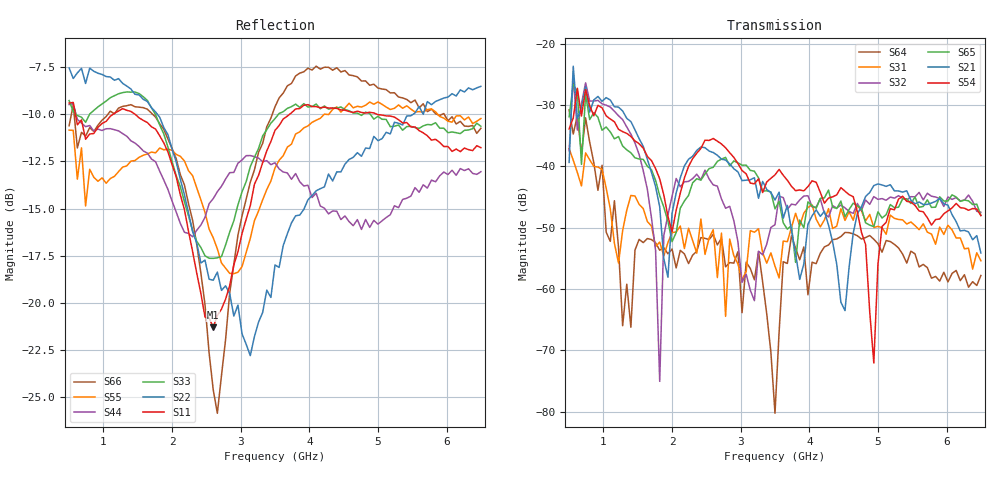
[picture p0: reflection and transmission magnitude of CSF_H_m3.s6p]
!Keysight Technologies,M9804A,MY58100912,A.14.10.03
!Date: Thursday, April 27, 2023 10:28:33
!Correction: S11(C  6-Port  )
!S12(C  6-Port  )
!S13(C  6-Port  )
!S14(C  6-Port  )
!S15(C  6-Port  )
!S16(C  6-Port  )
!S21(C  6-Port  )
!S22(C  6-Port  )
!S23(C  6-Port  )
!S24(C  6-Port  )
!S25(C  6-Port  )
!S26(C  6-Port  )
!S31(C  6-Port  )
!S32(C  6-Port  )
!S33(C  6-Port  )
!S34(C  6-Port  )
!S35(C  6-Port  )
!S36(C  6-Port  )
!S41(C  6-Port  )
!S42(C  6-Port  )
!S43(C  6-Port  )
!S44(C  6-Port  )
!S45(C  6-Port  )
!S46(C  6-Port  )
!S51(C  6-Port  )
!S52(C  6-Port  )
!S53(C  6-Port  )
!S54(C  6-Port  )
!S55(C  6-Port  )
!S56(C  6-Port  )
!S61(C  6-Port  )
!S62(C  6-Port  )
!S63(C  6-Port  )
!S64(C  6-Port  )
!S65(C  6-Port  )
!S66(C  6-Port  )
!S6P File: Measurement: :
# Hz S  RI  R 50
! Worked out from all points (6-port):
!   101 points, 500 MHz to 6.5 GHz, reference 50 ohm
!   strongest paths, dB at 500 MHz, 2 GHz, 3.5 GHz, 5 GHz, 6.5 GHz:
!     S54: -33.9, -50.6, -41.4, -55.9, -48.0
!     S21: -39.3, -47.6, -45.5, -42.8, -54.1
!     S65: -31.9, -52.3, -46.9, -47.4, -48.0
!     S32: -37.4, -44.9, -49.5, -45.4, -47.5
!     S31: -37.1, -50.8, -56.3, -49.8, -55.4
!     S64: -30.8, -53.5, -80.2, -52.6, -57.8
!   lowest |S11| = -21.3 dB at 2.6 GHz (marker M1), VSWR 1.19, Z = 42.4 + j2.3 ohm
!   |S11| at or under -10 dB: 592.3 MHz to 1.136 GHz (543.9 MHz wide, 62.9 % of centre); 1.465 GHz to 3.71 GHz (2.245 GHz wide, 86.8 % of centre); 4.992 GHz to end of sweep
